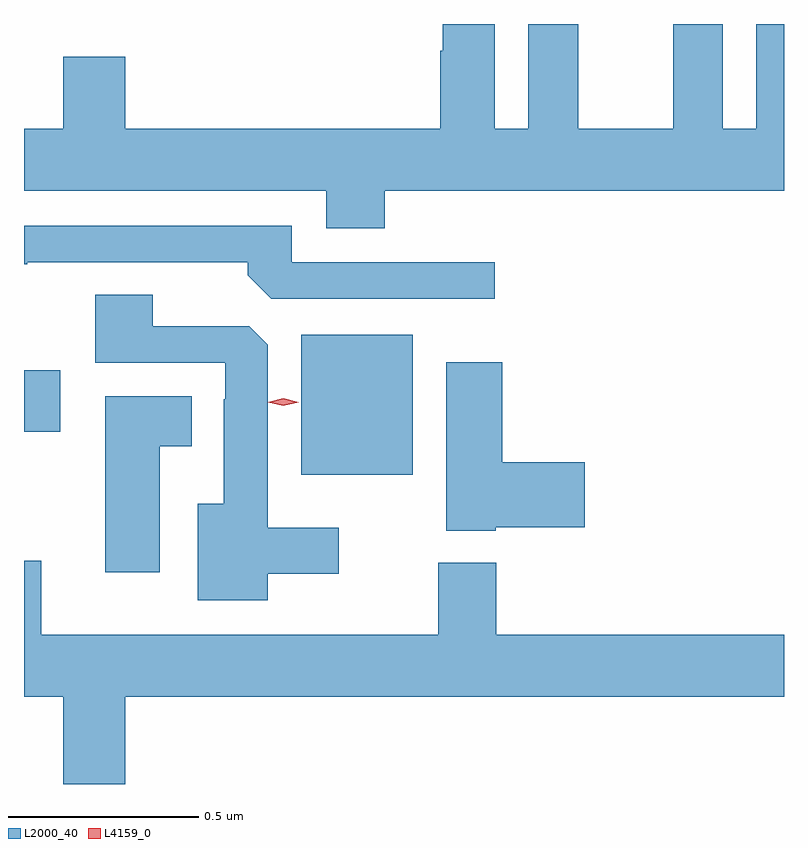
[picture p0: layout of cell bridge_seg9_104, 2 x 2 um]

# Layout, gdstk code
import gdstk
lib = gdstk.Library(unit=1e-6, precision=1e-09)
def R(c, l, rs):  # rectangles x0, y0, x1, y1
    for r in rs: c.add(gdstk.rectangle(r[:2], r[2:], *l))
def P(c, l, *ps):  # polygons
    for p in ps: c.add(gdstk.Polygon(p, *l))
L2000_40 = (2000, 40)
L4159_0 = (4159, 0)

bridge_seg9_104 = lib.new_cell('bridge_seg9_104')
R(bridge_seg9_104, L2000_40, [(777.023,1173.029,777.316,1173.397), (776.293,1173.142,776.389,1173.304)])
P(bridge_seg9_104, L2000_40, [(777.242,1173.776),(778.293,1173.776),(778.293,1174.215),(778.22,1174.215),(778.22,1173.94),(778.132,1173.94),(778.132,1174.215),(778.001,1174.215),(778.001,1173.94),(777.751,1173.94),(777.751,1174.215),(777.62,1174.215),(777.62,1173.94),(777.532,1173.94),(777.532,1174.215),(777.395,1174.215),(777.395,1174.145),(777.389,1174.145),(777.389,1173.94),(776.56,1173.94),(776.56,1174.129),(776.396,1174.129),(776.396,1173.94),(776.293,1173.94),(776.293,1173.776),(777.089,1173.776),(777.089,1173.677),(777.242,1173.677)],
  [(777.532,1173.588),(776.997,1173.588),(776.997,1173.684),(776.293,1173.684),(776.293,1173.583),(776.302,1173.583),(776.302,1173.588),(776.882,1173.588),(776.882,1173.554),(776.943,1173.492),(777.532,1173.492)],
  [(776.935,1172.768),(777.121,1172.768),(777.121,1172.89),(776.935,1172.89),(776.935,1173.371),(776.886,1173.42),(776.632,1173.42),(776.632,1173.503),(776.48,1173.503),(776.48,1173.324),(776.823,1173.324),(776.823,1173.227),(776.819,1173.227),(776.819,1172.953),(776.75,1172.953),(776.75,1172.699),(776.935,1172.699)],
  [(777.534,1172.891),(777.769,1172.891),(777.769,1173.062),(777.551,1173.062),(777.551,1173.325),(777.404,1173.325),(777.404,1172.882),(777.534,1172.882)],
  [(776.65,1173.104),(776.734,1173.104),(776.734,1173.235),(776.507,1173.235),(776.507,1172.772),(776.65,1172.772)],
  [(777.383,1172.797),(777.383,1172.608),(776.338,1172.608),(776.338,1172.803),(776.293,1172.803),(776.293,1172.444),(776.396,1172.444),(776.396,1172.215),(776.56,1172.215),(776.56,1172.444),(778.293,1172.444),(778.293,1172.608),(777.536,1172.608),(777.536,1172.797)])
P(bridge_seg9_104, L4159_0, [(776.975,1173.21),(776.934,1173.22),(776.934,1173.22),(776.934,1173.22),(776.975,1173.23),(777.016,1173.22),(777.016,1173.22),(777.016,1173.22)])

lib.write_gds('bridge_seg9_104.gds')
